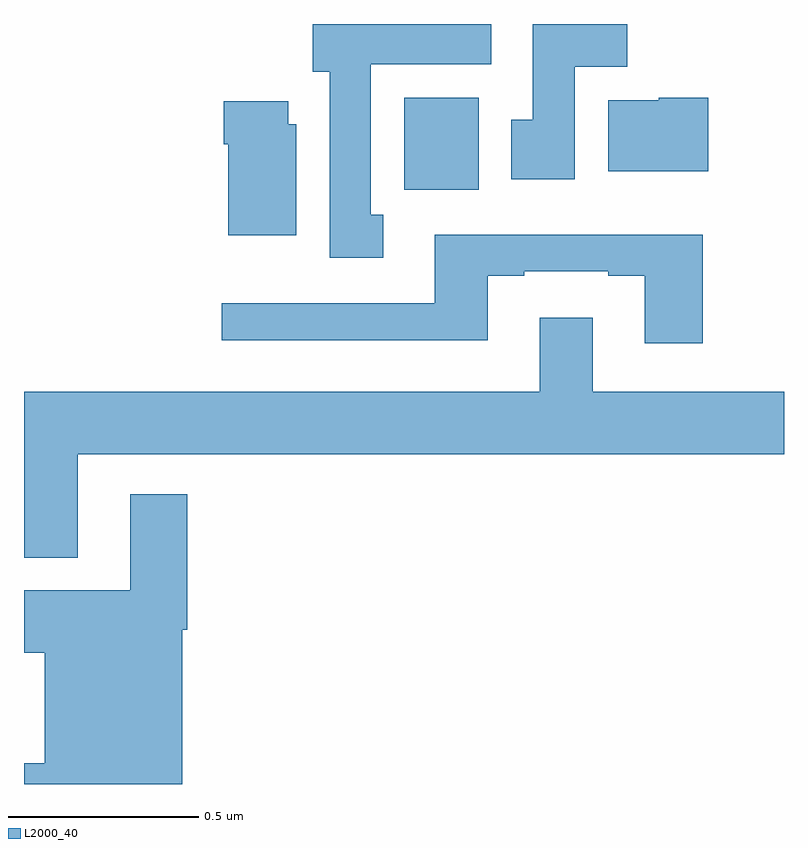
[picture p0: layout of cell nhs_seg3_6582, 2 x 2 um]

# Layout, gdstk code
import gdstk
lib = gdstk.Library(unit=1e-6, precision=1e-09)
def R(c, l, rs):  # rectangles x0, y0, x1, y1
    for r in rs: c.add(gdstk.rectangle(r[:2], r[2:], *l))
def P(c, l, *ps):  # polygons
    for p in ps: c.add(gdstk.Polygon(p, *l))
L2000_40 = (2000, 40)

nhs_seg3_6582 = lib.new_cell('nhs_seg3_6582')
R(nhs_seg3_6582, L2000_40, [(194,682.964,194.197,683.206)])
P(nhs_seg3_6582, L2000_40, [(193.945,682.898),(193.912,682.898),(193.912,683.294),(194.23,683.294),(194.23,683.4),(193.76,683.4),(193.76,683.274),(193.805,683.274),(193.805,682.785),(193.945,682.785)],
  [(194.449,683.288),(194.588,683.288),(194.588,683.4),(194.339,683.4),(194.339,683.148),(194.282,683.148),(194.282,682.992),(194.449,682.992)],
  [(194.801,683.206),(194.67,683.206),(194.67,683.2),(194.537,683.2),(194.537,683.012),(194.801,683.012)],
  [(193.717,683.136),(193.696,683.136),(193.696,683.197),(193.526,683.197),(193.526,683.084),(193.538,683.084),(193.538,682.844),(193.717,682.844)],
  [(194.786,682.846),(194.081,682.846),(194.081,682.665),(193.521,682.665),(193.521,682.568),(194.221,682.568),(194.221,682.737),(194.317,682.737),(194.317,682.749),(194.537,682.749),(194.537,682.737),(194.633,682.737),(194.633,682.56),(194.786,682.56)],
  [(193.141,682.268),(195,682.268),(195,682.432),(194.497,682.432),(194.497,682.627),(194.357,682.627),(194.357,682.432),(193,682.432),(193,682.268),(193.001,682.268),(193.001,681.995),(193.141,681.995)],
  [(193.417,681.806),(193.43,681.806),(193.43,682.162),(193.28,682.162),(193.28,681.91),(193,681.91),(193,681.746),(193.055,681.746),(193.055,681.454),(193,681.454),(193,681.4),(193.417,681.4)])

lib.write_gds('nhs_seg3_6582.gds')
